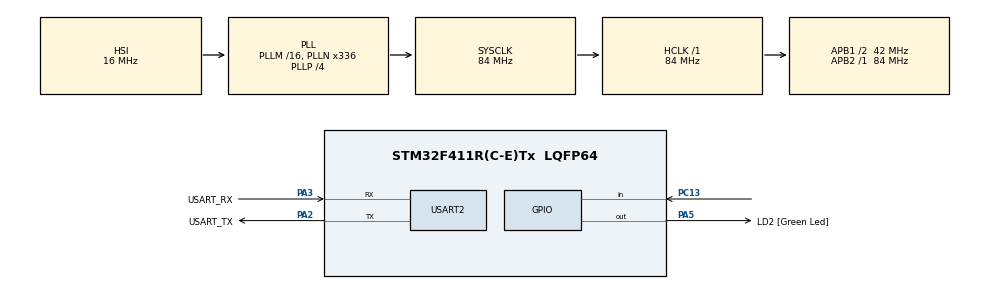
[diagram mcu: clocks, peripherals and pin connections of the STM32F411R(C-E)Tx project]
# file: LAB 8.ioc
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Mcu.Family=STM32F4
Mcu.Name=STM32F411R(C-E)Tx
Mcu.Package=LQFP64
NVIC.PriorityGroup=NVIC_PRIORITYGROUP_0
NVIC.USART2_IRQn=true\:0\:0\:false\:false\:true\:true\:true
PA13.GPIO_Label=TMS
PA13.Mode=Serial_Wire
PA13.Signal=SYS_JTMS-SWDIO
PA14.GPIO_Label=TCK
PA14.Mode=Serial_Wire
PA14.Signal=SYS_JTCK-SWCLK
PA2.GPIO_Label=USART_TX
PA2.Mode=Asynchronous
PA2.Signal=USART2_TX
PA3.GPIO_Label=USART_RX
PA3.Mode=Asynchronous
PA3.Signal=USART2_RX
PA5.GPIO_Label=LD2 [Green Led]
PA5.Signal=GPIO_Output
PB3.GPIO_Label=SWO
PB3.Signal=SYS_JTDO-SWO
PC13-ANTI_TAMP.Signal=GPIO_Input
PC14-OSC32_IN.Mode=LSE-External-Oscillator
PC14-OSC32_IN.Signal=RCC_OSC32_IN
PC15-OSC32_OUT.Mode=LSE-External-Oscillator
PC15-OSC32_OUT.Signal=RCC_OSC32_OUT
PH0\ -\ OSC_IN.Mode=HSE-External-Clock-Source
PH0\ -\ OSC_IN.Signal=RCC_OSC_IN
PH1\ -\ OSC_OUT.Mode=HSE-External-Clock-Source
PH1\ -\ OSC_OUT.Signal=RCC_OSC_OUT
ProjectManager.HeapSize=0x200
ProjectManager.StackSize=0x400
ProjectManager.TargetToolchain=STM32CubeIDE
RCC.48MHZClocksFreq_Value=84000000
RCC.AHBFreq_Value=84000000
RCC.APB1CLKDivider=RCC_HCLK_DIV2
RCC.APB1Freq_Value=42000000
RCC.APB1TimFreq_Value=84000000
RCC.APB2Freq_Value=84000000
RCC.APB2TimFreq_Value=84000000
RCC.CortexFreq_Value=84000000
RCC.FLatency-AdvancedSettings=FLASH_LATENCY_2
RCC.HCLKFreq_Value=84000000
RCC.HSE_VALUE=8000000
RCC.HSI_VALUE=16000000
RCC.PLLN=336
RCC.PLLP=RCC_PLLP_DIV4
RCC.SYSCLKFreq_VALUE=84000000
RCC.SYSCLKSource=RCC_SYSCLKSOURCE_PLLCLK
RCC.VCOOutputFreq_Value=336000000
USART2.VirtualMode=VM_ASYNC
board=NUCLEO-F411RE

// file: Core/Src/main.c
/* USER CODE BEGIN Header */
/**
  ******************************************************************************
  * @file           : main.c
  * @brief          : Main program body
  ******************************************************************************
  * @attention
  *
  * <h2><center>&copy; Copyright (c) 2021 STMicroelectronics.
  * All rights reserved.</center></h2>
  *
  * This software component is licensed by ST under BSD 3-Clause license,
  * the "License"; You may not use this file except in compliance with the
  * License. You may obtain a copy of the License at:
  *                        opensource.org/licenses/BSD-3-Clause
  *
  ******************************************************************************
  */
/* USER CODE END Header */
#include "main.h"

/* USER CODE BEGIN Includes */
#include <stdio.h>
#include <string.h>
/* USER CODE END Includes */

UART_HandleTypeDef huart2;

/* USER CODE BEGIN PV */
char TxDataBuffer[32] = { 0 };
char RxDataBuffer[32] = { 0 };

enum _Mode
{
	Mode_MainMenu = 0,
	Mode_MainMenuWait = 10,
	Mode_Menu0 = 20,
	Mode_Menu0Wait = 30,
	Mode_Menu1 = 40,
	Mode_Menu1Wait = 50
};
uint32_t CurrentMode = 0;		// Main Menu
int LEDFrequency = 1;			//default frequency = 1 Hz
uint8_t LEDState = 1;			//default state = ON
uint8_t ButtonStatus[2] = {0};

char temp[100] = {0};

/* USER CODE END PV */

void SystemClock_Config(void);
static void MX_GPIO_Init(void);
static void MX_USART2_UART_Init(void);
/* USER CODE BEGIN PFP */

void UARTReceiveAndResponsePolling();
int16_t UARTReceiveIT();

/* USER CODE END PFP */

int main(void)
{

  /* MCU Configuration--------------------------------------------------------*/

  /* Reset of all peripherals, Initializes the Flash interface and the Systick. */
  HAL_Init();

  /* Configure the system clock */
  SystemClock_Config();

  /* Initialize all configured peripherals */
  MX_GPIO_Init();
  MX_USART2_UART_Init();

  /* Infinite loop */
  /* USER CODE BEGIN WHILE */
  while (1)
  {
	  /*Method 1 Polling Mode*>>Bad Implement for Loop/

	  	  		// UARTReceiveAndResponsePolling();

	  	  		/*Method 2 Interrupt Mode*/
	  	  		HAL_UART_Receive_IT(&huart2,  (uint8_t*)RxDataBuffer, 32);

	  	  		/*Method 2 W/ 1 Char Received*/

	  	  		//read character
	  	  	    int8_t inputchar = UARTReceiveIT();

	  	  		//read button status
	  	  		ButtonStatus[0] = HAL_GPIO_ReadPin(GPIOC, GPIO_PIN_13);

//	  	  		if (inputchar != -1)
//	  	  		{
//	  	  			sprintf(TxDataBuffer, "ReceivedChar:[%c]\r\n", inputchar);
//	  	  			HAL_UART_Transmit(&huart2, (uint8_t*)TxDataBuffer, strlen(TxDataBuffer), 1000);
//	  	  		}
	  	  		switch (CurrentMode)
	  	  		{
	  	  				case Mode_MainMenu :	//MainMENU
	  	  				{
	  	  					char temp[] = "\r\nMAIN MENU : \r\n"
											"---------------\r\n"
											"MENU 0 : LED CONTROL\r\n"
											"MENU 1 : BUTTON STATUS\r\n\r\n";
	  	  					HAL_UART_Transmit(&huart2, (uint8_t*) temp,strlen(temp), 1000);

	  	  					CurrentMode = Mode_MainMenuWait;
	  	  					break;
	  	  				}

	  	  				case Mode_MainMenuWait :
	  	  					switch (inputchar)
	  	  					{

	  	  						case -1 :	//no input
	  	  							break;

	  	  						case '0' :	//select mode 0
	  	  						{
	  	  							CurrentMode = Mode_Menu0;
	  	  							break;
	  	  						}

	  	  						case '1' : //select mode 1
	  	  						{
	  	  							 CurrentMode = Mode_Menu1;
	  	  							 break;
	  	  						}

	  	  						default :
	  	  						{
	  	  							char temp[] = "!!!ERROR!!!\r\n";
	  	  							HAL_UART_Transmit(&huart2, (uint8_t*)temp, strlen(temp),1000);
	  	  							CurrentMode = Mode_MainMenu;
	  	  							break;
	  	  						}
	  	  					}
	  	  					break;

	  	  				case Mode_Menu0 :	//MODE0
	  	  				{
	  	  					char temp[]="---------------\r\n"
	  	  					"MENU 0 : LED CONTROL\r\n"
	  	  					"---------------\r\n"
							"a : Speed Up +1 Hz\r\n"
							"s : Speed Down -1 Hz\r\n"
							"d : ON/OFF LED\r\n"
							"x : back\r\n";
	  	  					HAL_UART_Transmit(&huart2, (uint8_t*)temp, strlen(temp),1000);
	  	  					CurrentMode = Mode_Menu0Wait;
	  	  					break;
	  	  				}

	  	  				case Mode_Menu0Wait	:
	  	  					switch (inputchar)
	  	  					{

	  	  					  	case -1 :	//no input
	  	  					  	  	break;

	  	  					  	case 'a' :	//increase frequency
	  	  					  		LEDFrequency += 1;
	  	  					  		sprintf(temp, "Current Frequency : [%d]\r\n" , LEDFrequency);
	  	  					  		HAL_UART_Transmit(&huart2, (uint8_t*)temp, strlen(temp),1000);
	  	  					  		CurrentMode = Mode_Menu0;
	  	  					  		break;

	  	  					  	case 's' :	//decrease frequency
	  	  					  		LEDFrequency -= 1;
	  	  					  		if (LEDFrequency <= 0)
	  	  					  		{
	  	  					  			LEDFrequency = 0;
	  	  					  		}
									sprintf(temp, "Current Frequency : [%d]\r\n" , LEDFrequency);
									HAL_UART_Transmit(&huart2, (uint8_t*)temp, strlen(temp),1000);
									CurrentMode = Mode_Menu0;
									break;

	  	  					  	case 'd' :	// ON/OFF LED still change the LED frequency
	  	  					  		if (LEDState == 0)
	  	  					  		{
	  	  					  			LEDState = 1;
	  	  					  			char temp[] = "\r\nLED State : ON\r\n";
	  	  					  			HAL_UART_Transmit(&huart2, (uint8_t*)temp, strlen(temp),1000);
	  	  					  			CurrentMode = Mode_Menu0;
	  	  					  			break;
	  	  					  		}
	  	  					  		else
	  	  					  		{
	  	  					  			LEDState = 0;
	  	  					  			char temp[] = "\r\nLED State : OFF\r\n";
	  	  					  			HAL_UART_Transmit(&huart2, (uint8_t*)temp, strlen(temp),1000);
	  	  					  			CurrentMode = Mode_Menu0;
	  	  					  			break;
	  	  					  		}

	  	  					  	case 'x' :	//back
	  	  					  		CurrentMode = Mode_MainMenu;
	  	  					  		break;

	  	  					  	default :	//error
	  	  					  		{
	  	  					  			char temp[] = "\r\n\r\n!!!ERROR!!!\r\n\r\n";
	  	  					  			HAL_UART_Transmit(&huart2, (uint8_t*)temp, strlen(temp),1000);
	  	  					  			CurrentMode = Mode_MainMenu;
	  	  					  			break;
	  	  					  		}
	  	  					}
	  	  					break;

	  	  				case Mode_Menu1 :	//MODE1
	  	  				{
	  	  					char temp[]="---------------\r\n"
									"MENU 1 : BUTTON STATUS\r\n"
									"---------------\r\n"
									"x : back\r\n";
	  	  					HAL_UART_Transmit(&huart2, (uint8_t*)temp, strlen(temp),1000);
	  	  					CurrentMode = Mode_Menu1Wait;
	  	  					break;
	  	  				}

	  	  				case Mode_Menu1Wait:
	  		  	  			if (ButtonStatus[0] == 0 && ButtonStatus[1] == 1)
	  		  	  			{
	  		  	  				char temp[] = "Button Status : PRESS\r\n";
	  		  	  				HAL_UART_Transmit(&huart2, (uint8_t*)temp, strlen(temp),1000);
	  		  	  				CurrentMode = Mode_Menu1;
	  		  	  			}
	  		  	  			else if (ButtonStatus[0] == 1 && ButtonStatus[1] == 0)
	  		  	  			{
	  		  	  				char temp[] = "Button Status : UNPRESS\r\n";
	  		  	  				HAL_UART_Transmit(&huart2, (uint8_t*)temp, strlen(temp),1000);
	  		  	  				CurrentMode = Mode_Menu1;
	  		  	  			}
	  	  					switch(inputchar)
	  	  					{
  	  					  		case -1 :	//no input
  	  					  			break;

								case 'x':	//back
									CurrentMode = Mode_MainMenu;
									break;

								default :	//error
								{
									char temp[] = "\r\n\r\n!!!ERROR!!!\r\n\r\n";
									HAL_UART_Transmit(&huart2, (uint8_t*)temp, strlen(temp),1000);
									CurrentMode = Mode_MainMenu;
									break;
								}

	  	  					}
	  	  					break;

	  	  			}

	  	  		if (LEDState == 1)	//LED ON, blink the LED
	  	  		{
	  	  			HAL_Delay(500/LEDFrequency);		//millisecond
	  	  			HAL_GPIO_TogglePin(LD2_GPIO_Port, LD2_Pin);
	  	  		}
	  	  		else if (LEDState == 0)	//LED OFF
	  	  		{
	  	  			HAL_GPIO_WritePin(GPIOA, GPIO_PIN_5, 0);
	  	  		}

	  	  		ButtonStatus[1] = ButtonStatus[0];	//statepast>>statepresent

    /* USER CODE END WHILE */

  }
}

void SystemClock_Config(void)
{
  RCC_OscInitTypeDef RCC_OscInitStruct = {0};
  RCC_ClkInitTypeDef RCC_ClkInitStruct = {0};

  /** Configure the main internal regulator output voltage
  */
  __HAL_RCC_PWR_CLK_ENABLE();
  __HAL_PWR_VOLTAGESCALING_CONFIG(PWR_REGULATOR_VOLTAGE_SCALE1);
  /** Initializes the RCC Oscillators according to the specified parameters
  * in the RCC_OscInitTypeDef structure.
  */
  RCC_OscInitStruct.OscillatorType = RCC_OSCILLATORTYPE_HSI;
  RCC_OscInitStruct.HSIState = RCC_HSI_ON;
  RCC_OscInitStruct.HSICalibrationValue = RCC_HSICALIBRATION_DEFAULT;
  RCC_OscInitStruct.PLL.PLLState = RCC_PLL_ON;
  RCC_OscInitStruct.PLL.PLLSource = RCC_PLLSOURCE_HSI;
  RCC_OscInitStruct.PLL.PLLM = 16;
  RCC_OscInitStruct.PLL.PLLN = 336;
  RCC_OscInitStruct.PLL.PLLP = RCC_PLLP_DIV4;
  RCC_OscInitStruct.PLL.PLLQ = 4;
  if (HAL_RCC_OscConfig(&RCC_OscInitStruct) != HAL_OK)
  {
    Error_Handler();
  }
  /** Initializes the CPU, AHB and APB buses clocks
  */
  RCC_ClkInitStruct.ClockType = RCC_CLOCKTYPE_HCLK|RCC_CLOCKTYPE_SYSCLK
                              |RCC_CLOCKTYPE_PCLK1|RCC_CLOCKTYPE_PCLK2;
  RCC_ClkInitStruct.SYSCLKSource = RCC_SYSCLKSOURCE_PLLCLK;
  RCC_ClkInitStruct.AHBCLKDivider = RCC_SYSCLK_DIV1;
  RCC_ClkInitStruct.APB1CLKDivider = RCC_HCLK_DIV2;
  RCC_ClkInitStruct.APB2CLKDivider = RCC_HCLK_DIV1;

  if (HAL_RCC_ClockConfig(&RCC_ClkInitStruct, FLASH_LATENCY_2) != HAL_OK)
  {
    Error_Handler();
  }
}

static void MX_USART2_UART_Init(void)
{

  huart2.Instance = USART2;
  huart2.Init.BaudRate = 115200;
  huart2.Init.WordLength = UART_WORDLENGTH_8B;
  huart2.Init.StopBits = UART_STOPBITS_1;
  huart2.Init.Parity = UART_PARITY_NONE;
  huart2.Init.Mode = UART_MODE_TX_RX;
  huart2.Init.HwFlowCtl = UART_HWCONTROL_NONE;
  huart2.Init.OverSampling = UART_OVERSAMPLING_16;
  if (HAL_UART_Init(&huart2) != HAL_OK)
  {
    Error_Handler();
  }

}

static void MX_GPIO_Init(void)
{
  GPIO_InitTypeDef GPIO_InitStruct = {0};

  /* GPIO Ports Clock Enable */
  __HAL_RCC_GPIOC_CLK_ENABLE();
  __HAL_RCC_GPIOH_CLK_ENABLE();
  __HAL_RCC_GPIOA_CLK_ENABLE();
  __HAL_RCC_GPIOB_CLK_ENABLE();

  /*Configure GPIO pin Output Level */
  HAL_GPIO_WritePin(LD2_GPIO_Port, LD2_Pin, GPIO_PIN_RESET);

  /*Configure GPIO pin : PC13 */
  GPIO_InitStruct.Pin = GPIO_PIN_13;
  GPIO_InitStruct.Mode = GPIO_MODE_INPUT;
  GPIO_InitStruct.Pull = GPIO_NOPULL;
  HAL_GPIO_Init(GPIOC, &GPIO_InitStruct);

  /*Configure GPIO pin : LD2_Pin */
  GPIO_InitStruct.Pin = LD2_Pin;
  GPIO_InitStruct.Mode = GPIO_MODE_OUTPUT_PP;
  GPIO_InitStruct.Pull = GPIO_NOPULL;
  GPIO_InitStruct.Speed = GPIO_SPEED_FREQ_LOW;
  HAL_GPIO_Init(LD2_GPIO_Port, &GPIO_InitStruct);

}

/* USER CODE BEGIN 4 */
void UARTReceiveAndResponsePolling()
{
	//create Buffer
	char Receive[32]={0};

	//start Receive in Polling Method
	HAL_UART_Receive(&huart2, (uint8_t*)Receive, 32, 1000);

	//create Feedback text
	sprintf(TxDataBuffer, "Received:[%s]\r\n", Receive);

	//send Text
	HAL_UART_Transmit(&huart2, (uint8_t*)TxDataBuffer, strlen(TxDataBuffer), 1000);

}

int16_t UARTReceiveIT()
{
    static uint32_t dataPos =0;
    int16_t data=-1;
    if(huart2.RxXferSize - huart2.RxXferCount!=dataPos)
    {
        data=RxDataBuffer[dataPos];
        dataPos= (dataPos+1)%huart2.RxXferSize;
    }
    return data;
}

void HAL_UART_RxCpltCallback(UART_HandleTypeDef *huart)
{
    sprintf(TxDataBuffer, "Received:[%s]\r\n", RxDataBuffer);
    HAL_UART_Transmit(&huart2, (uint8_t)TxDataBuffer, strlen(TxDataBuffer), 1000);
}

/* USER CODE END 4 */

void Error_Handler(void)
{
  __disable_irq();
  while (1)
  {
  }
}

/************************ (C) COPYRIGHT STMicroelectronics *****END OF FILE****/
